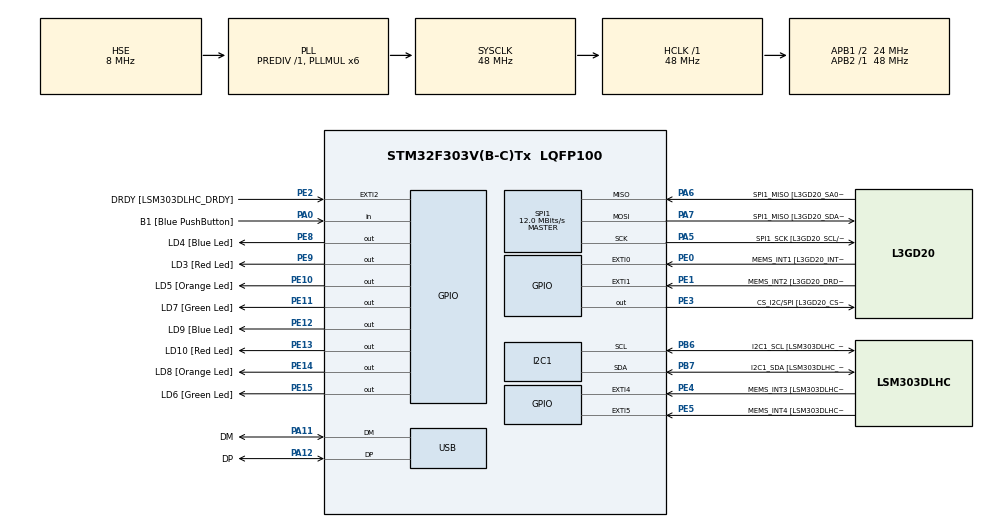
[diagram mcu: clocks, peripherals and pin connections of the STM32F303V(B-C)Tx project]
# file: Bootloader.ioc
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I2C1.Timing=0x00201D2B
I2C1.Timing-I2C=0x2000090E
Mcu.Family=STM32F3
Mcu.Name=STM32F303V(B-C)Tx
Mcu.Package=LQFP100
NVIC.PriorityGroup=NVIC_PRIORITYGROUP_0
NVIC.USB_LP_CAN_RX0_IRQn=true\:0\:0\:false\:false\:true\:false\:true\:true
PA0.GPIO_Label=B1 [Blue PushButton]
PA0.Signal=GPIO_Input
PA11.GPIO_Label=DM
PA11.Mode=Device
PA11.Signal=USB_DM
PA12.GPIO_Label=DP
PA12.Mode=Device
PA12.Signal=USB_DP
PA13.GPIO_Label=SWDIO
PA13.Mode=Serial_Wire
PA13.Signal=SYS_JTMS-SWDIO
PA14.GPIO_Label=SWCLK
PA14.Mode=Serial_Wire
PA14.Signal=SYS_JTCK-SWCLK
PA5.GPIO_Label=SPI1_SCK [L3GD20_SCL/SPC]
PA5.Mode=Full_Duplex_Master
PA5.Signal=SPI1_SCK
PA6.GPIO_Label=SPI1_MISO [L3GD20_SA0/SDO]
PA6.Mode=Full_Duplex_Master
PA6.Signal=SPI1_MISO
PA7.GPIO_Label=SPI1_MISO [L3GD20_SDA/SDI/SDO]
PA7.Mode=Full_Duplex_Master
PA7.Signal=SPI1_MOSI
PB3.GPIO_Label=SWO
PB3.Signal=SYS_JTDO-TRACESWO
PB6.GPIO_Label=I2C1_SCL [LSM303DLHC_SCL]
PB6.GPIO_Pu=GPIO_PULLUP
PB6.Mode=I2C
PB6.Signal=I2C1_SCL
PB7.GPIO_Label=I2C1_SDA [LSM303DLHC_SDA]
PB7.GPIO_Pu=GPIO_PULLUP
PB7.Mode=I2C
PB7.Signal=I2C1_SDA
PC14-OSC32_IN.GPIO_Label=OSC32_IN
PC14-OSC32_IN.Signal=RCC_OSC32_IN
PC15-OSC32_OUT.GPIO_Label=OSC32_OUT
PC15-OSC32_OUT.Signal=RCC_OSC32_OUT
PE0.GPIO_Label=MEMS_INT1 [L3GD20_INT1]
PE0.GPIO_ModeDefaultEXTI=GPIO_MODE_EVT_RISING
PE0.Signal=GPXTI0
PE1.GPIO_Label=MEMS_INT2 [L3GD20_DRDY/INT2]
PE1.GPIO_ModeDefaultEXTI=GPIO_MODE_EVT_RISING
PE1.Signal=GPXTI1
PE10.GPIO_Label=LD5 [Orange Led]
PE10.Signal=GPIO_Output
PE11.GPIO_Label=LD7 [Green Led]
PE11.Signal=GPIO_Output
PE12.GPIO_Label=LD9 [Blue Led]
PE12.Signal=GPIO_Output
PE13.GPIO_Label=LD10 [Red Led]
PE13.Signal=GPIO_Output
PE14.GPIO_Label=LD8 [Orange Led]
PE14.Signal=GPIO_Output
PE15.GPIO_Label=LD6 [Green Led]
PE15.Signal=GPIO_Output
PE2.GPIO_Label=DRDY [LSM303DLHC_DRDY]
PE2.GPIO_ModeDefaultEXTI=GPIO_MODE_EVT_RISING
PE2.Signal=GPXTI2
PE3.GPIO_Label=CS_I2C/SPI [L3GD20_CS_I2C/SPI]
PE3.Signal=GPIO_Output
PE4.GPIO_Label=MEMS_INT3 [LSM303DLHC_INT1]
PE4.GPIO_ModeDefaultEXTI=GPIO_MODE_EVT_RISING
PE4.Signal=GPXTI4
PE5.GPIO_Label=MEMS_INT4 [LSM303DLHC_INT2]
PE5.GPIO_ModeDefaultEXTI=GPIO_MODE_EVT_RISING
PE5.Signal=GPXTI5
PE8.GPIO_Label=LD4 [Blue Led]
PE8.Signal=GPIO_Output
PE9.GPIO_Label=LD3 [Red Led]
PE9.Signal=GPIO_Output
PF0-OSC_IN.GPIO_Label=OSC_IN
PF0-OSC_IN.Mode=HSE-External-Clock-Source
PF0-OSC_IN.Signal=RCC_OSC_IN
PF1-OSC_OUT.GPIO_Label=OSC_OUT
PF1-OSC_OUT.Signal=RCC_OSC_OUT
ProjectManager.HeapSize=0x1000
ProjectManager.StackSize=0x400
ProjectManager.TargetToolchain=STM32CubeIDE
RCC.AHBFreq_Value=48000000
RCC.APB1CLKDivider=RCC_HCLK_DIV2
RCC.APB1Freq_Value=24000000
RCC.APB1TimFreq_Value=48000000
RCC.APB2Freq_Value=48000000
RCC.APB2TimFreq_Value=48000000
RCC.CortexFreq_Value=48000000
RCC.HCLKFreq_Value=48000000
RCC.HSE_VALUE=8000000
RCC.HSI_VALUE=8000000
RCC.LSE_VALUE=32768
RCC.PLLMUL=RCC_PLL_MUL6
RCC.PLLSourceVirtual=RCC_PLLSOURCE_HSE
RCC.SYSCLKFreq_VALUE=48000000
RCC.SYSCLKSourceVirtual=RCC_SYSCLKSOURCE_PLLCLK
RCC.USBFreq_Value=48000000
SPI1.BaudRatePrescaler=SPI_BAUDRATEPRESCALER_4
SPI1.BaudRatePrescaler-Full_Duplex_Master=SPI_BAUDRATEPRESCALER_2
SPI1.CalculateBaudRate=12.0 MBits/s
SPI1.CalculateBaudRate-Full_Duplex_Master=24.0 MBits/s
SPI1.Direction=SPI_DIRECTION_2LINES
SPI1.Mode=SPI_MODE_MASTER
SPI1.Mode-Full_Duplex_Master=SPI_MODE_MASTER
SPI1.VirtualType=VM_MASTER
USB_DEVICE.CLASS_NAME_FS=CDC
USB_DEVICE.VirtualMode=Cdc
USB_DEVICE.VirtualModeFS=Cdc_FS
VP_USB_DEVICE_VS_USB_DEVICE_CDC_FS.Mode=CDC_FS
board=STM32F3DISCOVERY

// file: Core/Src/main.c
/* USER CODE BEGIN Header */
/**
  ******************************************************************************
  * @file           : main.c
  * @brief          : Main program body
  ******************************************************************************
  * @attention
  *
  * Copyright (c) 2026 STMicroelectronics.
  * All rights reserved.
  *
  * This software is licensed under terms that can be found in the LICENSE file
  * in the root directory of this software component.
  * If no LICENSE file comes with this software, it is provided AS-IS.
  *
  ******************************************************************************
  */
/* USER CODE END Header */
#include "main.h"
#include "usb_device.h"
#include "usbd_cdc_if.h"

/* USER CODE BEGIN Includes */
#include "bl_protocol.h"
/* USER CODE END Includes */

I2C_HandleTypeDef hi2c1;

SPI_HandleTypeDef hspi1;

/* USER CODE BEGIN PV */
/* Started only when entering bootloader mode. Once started, the IWDG
 * cannot be stopped - it keeps running across the jump, so the
 * application must keep refreshing it (see Application main.c). */
static uint8_t iwdg_started = 0;
/* USER CODE END PV */

void SystemClock_Config(void);
static void MX_GPIO_Init(void);
static void MX_I2C1_Init(void);
static void MX_SPI1_Init(void);

/* USER CODE BEGIN 0 */
/* Function pointer for jumping */
typedef void (*pFunction)(void);

/* The HAL IWDG driver is not part of this project, so talk to the
 * watchdog registers directly (KR/PR/RLR/SR). */
#define IWDG_KEY_RELOAD  0xAAAAu
#define IWDG_KEY_ENABLE  0xCCCCu
#define IWDG_KEY_ACCESS  0x5555u

static void IWDG_Feed(void) {
    IWDG->KR = IWDG_KEY_RELOAD;
}

static void IWDG_Start(void) {
    IWDG->KR  = IWDG_KEY_ENABLE;         /* starts the counter and forces LSI on */
    IWDG->KR  = IWDG_KEY_ACCESS;
    IWDG->PR  = 5;                      /* /128 -> ~312 Hz @ 40 kHz LSI */
    IWDG->RLR = 3000 & 0xFFFu;          /* ~9.6 s timeout               */
    while (IWDG->SR != 0u) { }          /* wait for PR/RLR to apply     */
    IWDG->KR  = IWDG_KEY_RELOAD;
    iwdg_started = 1;
}

uint8_t JumpToApplication(void) {
    uint32_t app_address = APP_FLASH_BASE_ADDRESS;

    /* Refuse to jump into a missing or corrupt vector table. */
    if (!BL_VectorTableValid()) {
        return 0;
    }

    uint32_t jump_address = *(__IO uint32_t*) (app_address + 4);
    pFunction Jump = (pFunction) jump_address;

    // 1. Force Windows to drop the COM port connection
    __HAL_RCC_GPIOA_CLK_ENABLE();
    GPIO_InitTypeDef GPIO_InitStruct = {0};
    GPIO_InitStruct.Pin = GPIO_PIN_12;           // USB D+ pin
    GPIO_InitStruct.Mode = GPIO_MODE_OUTPUT_PP;
    GPIO_InitStruct.Pull = GPIO_NOPULL;
    GPIO_InitStruct.Speed = GPIO_SPEED_FREQ_LOW;
    HAL_GPIO_Init(GPIOA, &GPIO_InitStruct);

    HAL_GPIO_WritePin(GPIOA, GPIO_PIN_12, GPIO_PIN_RESET);
    HAL_Delay(50); // Wait 50ms for the host PC to register the disconnect

    // 2. Disable all global interrupts at the CPU level
    __disable_irq();

    // 3. Clear every pending/enable bit so nothing fires in the app
    for (uint32_t i = 0; i < 8u; i++) {
        NVIC->ICER[i] = 0xFFFFFFFFu;
        NVIC->ICPR[i] = 0xFFFFFFFFu;
    }
    SCB->ICSR = SCB_ICSR_PENDSVCLR_Msk | SCB_ICSR_PENDSTCLR_Msk;

    // 4. KILL THE USB: Disable its interrupt and shut off its clock
    HAL_NVIC_DisableIRQ(USB_LP_CAN_RX0_IRQn);
    __HAL_RCC_USB_CLK_DISABLE();

    // 5. Reset the clock system to default HSI state
    HAL_RCC_DeInit();

    // 6. Clear and disable the SysTick timer
    SysTick->CTRL = 0;
    SysTick->LOAD = 0;
    SysTick->VAL  = 0;

    // 7. De-initialize the HAL layer
    HAL_DeInit();

    // 8. Give the application a fresh watchdog window (IWDG, once started,
    //    cannot be stopped - the app must keep refreshing it)
    if (iwdg_started) {
        IWDG_Feed();
    }

    // 9. Set the Main Stack Pointer to the app's starting address
    __set_MSP(*(__IO uint32_t*) app_address);

    // 10. Execute the jump
    Jump();
    return 1; // unreachable
}
/* USER CODE END 0 */

int main(void)
{

  /* MCU Configuration--------------------------------------------------------*/

  /* Reset of all peripherals, Initializes the Flash interface and the Systick. */
  HAL_Init();

  /* Configure the system clock */
  SystemClock_Config();

  /* USER CODE BEGIN SysInit */
  // Force Windows to recognize a physical USB disconnect by pulling PA12 LOW
    __HAL_RCC_GPIOA_CLK_ENABLE();
    GPIO_InitTypeDef GPIO_InitStruct = {0};
    GPIO_InitStruct.Pin = GPIO_PIN_12;           // USB D+ pin
    GPIO_InitStruct.Mode = GPIO_MODE_OUTPUT_PP;  // Push-Pull Output
    GPIO_InitStruct.Pull = GPIO_NOPULL;
    GPIO_InitStruct.Speed = GPIO_SPEED_FREQ_LOW;
    HAL_GPIO_Init(GPIOA, &GPIO_InitStruct);

    HAL_GPIO_WritePin(GPIOA, GPIO_PIN_12, GPIO_PIN_RESET);
    HAL_Delay(50); // Keep it low for 50ms so Windows drops the dead COM port
  /* USER CODE END SysInit */

  /* Initialize all configured peripherals */
  MX_GPIO_Init();
  MX_I2C1_Init();
  MX_SPI1_Init();
  MX_USB_DEVICE_Init();
  /* USER CODE BEGIN 2 */
  HAL_GPIO_WritePin(GPIOE, GPIO_PIN_9, GPIO_PIN_SET); // Turn on Red LED
  HAL_Delay(100);

    // Use the isolated CCMRAM so the stack doesn't overwrite it
    uint32_t *magic_word_address = (uint32_t *)MAGIC_WORD_ADDRESS;

    if (*magic_word_address == MAGIC_WORD_UPDATE_REQUEST) {
        *magic_word_address = 0x00000000; // Clear it immediately
    }
    else if (HAL_GPIO_ReadPin(GPIOA, GPIO_PIN_0) == GPIO_PIN_RESET) {
        // Auto-boot only into a verified, intact image; otherwise fall
        // through and stay in bootloader mode.
        if (BL_ImageIsValid()) {
            JumpToApplication();
        }
    }

    /* --- Entering interactive bootloader mode --- */
    // Start the watchdog now: if the host never finishes the update we
    // reset and the normal boot path gets another chance. IWDG runs at
    // ~312 Hz with /128 prescaler; reload 3000 ~= 9.6 s timeout.
    IWDG_Start();

    BL_ProtocolInit();
  /* USER CODE END 2 */

  /* Infinite loop */
  /* USER CODE BEGIN WHILE */
      while (1)
      {
          IWDG_Feed();

          // Fast blink Red LED so we know we are in Bootloader Mode
          HAL_GPIO_TogglePin(GPIOE, GPIO_PIN_9);
          HAL_Delay(100);

          // Drain complete protocol frames reassembled from USB packets
          BL_ProtocolPoll();
    /* USER CODE END WHILE */

      }
}

void SystemClock_Config(void)
{
  RCC_OscInitTypeDef RCC_OscInitStruct = {0};
  RCC_ClkInitTypeDef RCC_ClkInitStruct = {0};
  RCC_PeriphCLKInitTypeDef PeriphClkInit = {0};

  /** Initializes the RCC Oscillators according to the specified parameters
  * in the RCC_OscInitTypeDef structure.
  */
  RCC_OscInitStruct.OscillatorType = RCC_OSCILLATORTYPE_HSI|RCC_OSCILLATORTYPE_HSE;
  RCC_OscInitStruct.HSEState = RCC_HSE_BYPASS;
  RCC_OscInitStruct.HSEPredivValue = RCC_HSE_PREDIV_DIV1;
  RCC_OscInitStruct.HSIState = RCC_HSI_ON;
  RCC_OscInitStruct.HSICalibrationValue = RCC_HSICALIBRATION_DEFAULT;
  RCC_OscInitStruct.PLL.PLLState = RCC_PLL_ON;
  RCC_OscInitStruct.PLL.PLLSource = RCC_PLLSOURCE_HSE;
  RCC_OscInitStruct.PLL.PLLMUL = RCC_PLL_MUL6;
  if (HAL_RCC_OscConfig(&RCC_OscInitStruct) != HAL_OK)
  {
    Error_Handler();
  }

  /** Initializes the CPU, AHB and APB buses clocks
  */
  RCC_ClkInitStruct.ClockType = RCC_CLOCKTYPE_HCLK|RCC_CLOCKTYPE_SYSCLK
                              |RCC_CLOCKTYPE_PCLK1|RCC_CLOCKTYPE_PCLK2;
  RCC_ClkInitStruct.SYSCLKSource = RCC_SYSCLKSOURCE_PLLCLK;
  RCC_ClkInitStruct.AHBCLKDivider = RCC_SYSCLK_DIV1;
  RCC_ClkInitStruct.APB1CLKDivider = RCC_HCLK_DIV2;
  RCC_ClkInitStruct.APB2CLKDivider = RCC_HCLK_DIV1;

  if (HAL_RCC_ClockConfig(&RCC_ClkInitStruct, FLASH_LATENCY_1) != HAL_OK)
  {
    Error_Handler();
  }
  PeriphClkInit.PeriphClockSelection = RCC_PERIPHCLK_USB|RCC_PERIPHCLK_I2C1;
  PeriphClkInit.I2c1ClockSelection = RCC_I2C1CLKSOURCE_HSI;
  PeriphClkInit.USBClockSelection = RCC_USBCLKSOURCE_PLL;
  if (HAL_RCCEx_PeriphCLKConfig(&PeriphClkInit) != HAL_OK)
  {
    Error_Handler();
  }
}

static void MX_I2C1_Init(void)
{

  hi2c1.Instance = I2C1;
  hi2c1.Init.Timing = 0x00201D2B;
  hi2c1.Init.OwnAddress1 = 0;
  hi2c1.Init.AddressingMode = I2C_ADDRESSINGMODE_7BIT;
  hi2c1.Init.DualAddressMode = I2C_DUALADDRESS_DISABLE;
  hi2c1.Init.OwnAddress2 = 0;
  hi2c1.Init.OwnAddress2Masks = I2C_OA2_NOMASK;
  hi2c1.Init.GeneralCallMode = I2C_GENERALCALL_DISABLE;
  hi2c1.Init.NoStretchMode = I2C_NOSTRETCH_DISABLE;
  if (HAL_I2C_Init(&hi2c1) != HAL_OK)
  {
    Error_Handler();
  }

  /** Configure Analogue filter
  */
  if (HAL_I2CEx_ConfigAnalogFilter(&hi2c1, I2C_ANALOGFILTER_ENABLE) != HAL_OK)
  {
    Error_Handler();
  }

  /** Configure Digital filter
  */
  if (HAL_I2CEx_ConfigDigitalFilter(&hi2c1, 0) != HAL_OK)
  {
    Error_Handler();
  }

}

static void MX_SPI1_Init(void)
{

  /* SPI1 parameter configuration*/
  hspi1.Instance = SPI1;
  hspi1.Init.Mode = SPI_MODE_MASTER;
  hspi1.Init.Direction = SPI_DIRECTION_2LINES;
  hspi1.Init.DataSize = SPI_DATASIZE_4BIT;
  hspi1.Init.CLKPolarity = SPI_POLARITY_LOW;
  hspi1.Init.CLKPhase = SPI_PHASE_1EDGE;
  hspi1.Init.NSS = SPI_NSS_SOFT;
  hspi1.Init.BaudRatePrescaler = SPI_BAUDRATEPRESCALER_4;
  hspi1.Init.FirstBit = SPI_FIRSTBIT_MSB;
  hspi1.Init.TIMode = SPI_TIMODE_DISABLE;
  hspi1.Init.CRCCalculation = SPI_CRCCALCULATION_DISABLE;
  hspi1.Init.CRCPolynomial = 7;
  hspi1.Init.CRCLength = SPI_CRC_LENGTH_DATASIZE;
  hspi1.Init.NSSPMode = SPI_NSS_PULSE_ENABLE;
  if (HAL_SPI_Init(&hspi1) != HAL_OK)
  {
    Error_Handler();
  }

}

static void MX_GPIO_Init(void)
{
  GPIO_InitTypeDef GPIO_InitStruct = {0};

  /* GPIO Ports Clock Enable */
  __HAL_RCC_GPIOE_CLK_ENABLE();
  __HAL_RCC_GPIOC_CLK_ENABLE();
  __HAL_RCC_GPIOF_CLK_ENABLE();
  __HAL_RCC_GPIOA_CLK_ENABLE();
  __HAL_RCC_GPIOB_CLK_ENABLE();

  /*Configure GPIO pin Output Level */
  HAL_GPIO_WritePin(GPIOE, CS_I2C_SPI_Pin|LD4_Pin|LD3_Pin|LD5_Pin
                          |LD7_Pin|LD9_Pin|LD10_Pin|LD8_Pin
                          |LD6_Pin, GPIO_PIN_RESET);

  /*Configure GPIO pins : DRDY_Pin MEMS_INT3_Pin MEMS_INT4_Pin MEMS_INT1_Pin
                           MEMS_INT2_Pin */
  GPIO_InitStruct.Pin = DRDY_Pin|MEMS_INT3_Pin|MEMS_INT4_Pin|MEMS_INT1_Pin
                          |MEMS_INT2_Pin;
  GPIO_InitStruct.Mode = GPIO_MODE_EVT_RISING;
  GPIO_InitStruct.Pull = GPIO_NOPULL;
  HAL_GPIO_Init(GPIOE, &GPIO_InitStruct);

  /*Configure GPIO pins : CS_I2C_SPI_Pin LD4_Pin LD3_Pin LD5_Pin
                           LD7_Pin LD9_Pin LD10_Pin LD8_Pin
                           LD6_Pin */
  GPIO_InitStruct.Pin = CS_I2C_SPI_Pin|LD4_Pin|LD3_Pin|LD5_Pin
                          |LD7_Pin|LD9_Pin|LD10_Pin|LD8_Pin
                          |LD6_Pin;
  GPIO_InitStruct.Mode = GPIO_MODE_OUTPUT_PP;
  GPIO_InitStruct.Pull = GPIO_NOPULL;
  GPIO_InitStruct.Speed = GPIO_SPEED_FREQ_LOW;
  HAL_GPIO_Init(GPIOE, &GPIO_InitStruct);

  /*Configure GPIO pin : B1_Pin */
  GPIO_InitStruct.Pin = B1_Pin;
  GPIO_InitStruct.Mode = GPIO_MODE_INPUT;
  GPIO_InitStruct.Pull = GPIO_NOPULL;
  HAL_GPIO_Init(B1_GPIO_Port, &GPIO_InitStruct);

}

void Error_Handler(void)
{
  __disable_irq();
  while (1)
  {
  }
}
